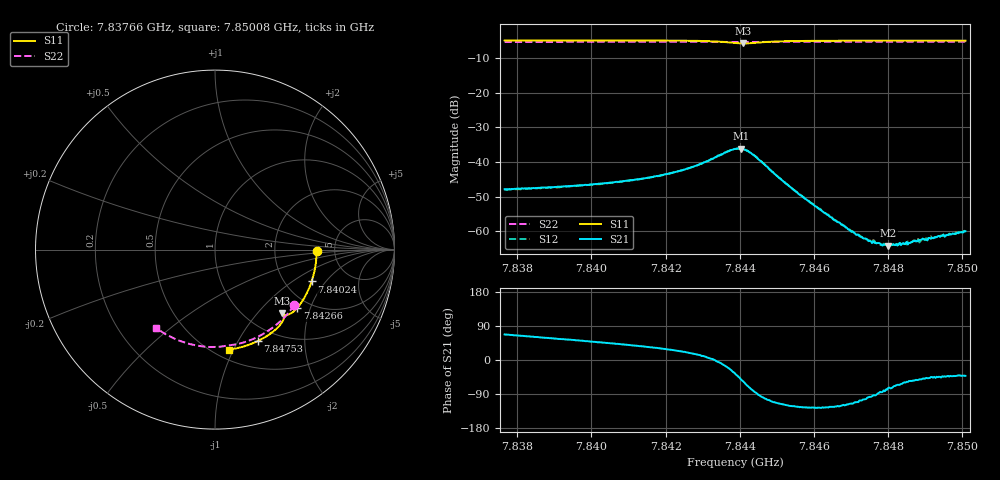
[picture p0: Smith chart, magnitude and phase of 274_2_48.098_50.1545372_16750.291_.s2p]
#  HZ  S  RI  R  50.00
! Rohde & Schwarz Vector Network Analyzer
! Rohde-Schwarz,ZNB20-2Port,1311601062101988,3.16
! Created: UTC 12/23/2023, 4:02:05 AM
! freq[Hz]  re:S11  im:S11  re:S21  im:S21  re:S12  im:S12  re:S22  im:S22
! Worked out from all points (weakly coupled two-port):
!   401 points, 7.83766 GHz to 7.85008 GHz, reference 50 ohm
!   highest |S21| = -36.14 dB at 7.84403 GHz (marker M1); lowest = -64.2 dB at 7.848 GHz (marker M2)
!   lowest |S11| = -5.8 dB at 7.84409 GHz (marker M3), VSWR 3.11, Z = 71.2 - j68.1 ohm
!   |S11| at or under -10 dB: nowhere
!   |S22| runs from -5.4 to -5.3 dB; largest |S21 - S12| = 0.00031
!   S11 on the Smith chart (normalised r, x): 7.83766 GHz: 3.61, -0.08; 7.84024 GHz: 2.77, -1.45; 7.84266 GHz: 1.71, -1.63; 7.84753 GHz: 0.81, -1.22; 7.85008 GHz: 0.59, -0.96
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7.837659e9  0.5664 -0.00792  0.00155 0.00373  0.00156 0.00364  0.4426 -0.3089
7.83974e9  0.5481 -0.1453  0.00291 0.00358  0.00289 0.00355  0.3447 -0.4165
7.840237e9  0.5384 -0.1774  0.00334 0.00353  0.00328 0.00347  0.3174 -0.438
7.84182e9  0.4933 -0.2763  0.00542 0.00328  0.00536 0.00326  0.2214 -0.494
7.842659e9  0.4573 -0.3261  0.00783 0.0026  0.00777 0.00259  0.1665 -0.5152
7.843404e9  0.4098 -0.362  0.0123 -0.000993  0.0121 -0.00082  0.1155 -0.5281
7.84387e9  0.3758 -0.3607  0.0125 -0.0089  0.0126 -0.00888  0.0844 -0.5323
7.844025e9  0.3724 -0.3543  0.00988 -0.0121  0.01 -0.0118  0.0745 -0.5336
7.844087e9  0.3728 -0.3523  0.00853 -0.0126  0.00855 -0.0127  0.0708 -0.5344
7.844398e9  0.3829 -0.3568  0.00126 -0.0122  0.00128 -0.0123  0.0508 -0.5378
7.845205e9  0.3688 -0.4116  -0.00239 -0.00448  -0.00243 -0.0045  -0.00564 -0.5427
7.84595e9  0.3313 -0.451  -0.00143 -0.00203  -0.00147 -0.00203  -0.0581 -0.5406
7.847006e9  0.2708 -0.4926  -0.000413 -0.000901  -0.000424 -0.000889  -0.1317 -0.5282
7.847534e9  0.2391 -0.5095  -9.3e-05 -0.000711  -8.73e-05 -0.000691  -0.1673 -0.5184
7.847783e9  0.2239 -0.5165  6.95e-05 -0.00066  4.33e-05 -0.000635  -0.1837 -0.5129
7.848e9  0.2103 -0.5219  0.000177 -0.000593  0.00016 -0.000634  -0.1981 -0.5076
7.848031e9  0.2084 -0.5229  0.000188 -0.000616  0.000147 -0.00063  -0.2001 -0.5068
7.848435e9  0.1831 -0.5325  0.000337 -0.000558  0.000324 -0.000579  -0.2262 -0.4961
7.848745e9  0.1634 -0.5387  0.000445 -0.000574  0.000427 -0.000569  -0.2459 -0.4868
7.848807e9  0.1593 -0.5399  0.000439 -0.000577  0.000502 -0.000587  -0.2499 -0.4848
7.849459e9  0.1171 -0.5505  0.000635 -0.000593  0.000627 -0.000575  -0.2898 -0.4625
7.85008e9  0.0764 -0.5572  0.000744 -0.000665  0.000767 -0.000636  -0.3259 -0.4382
